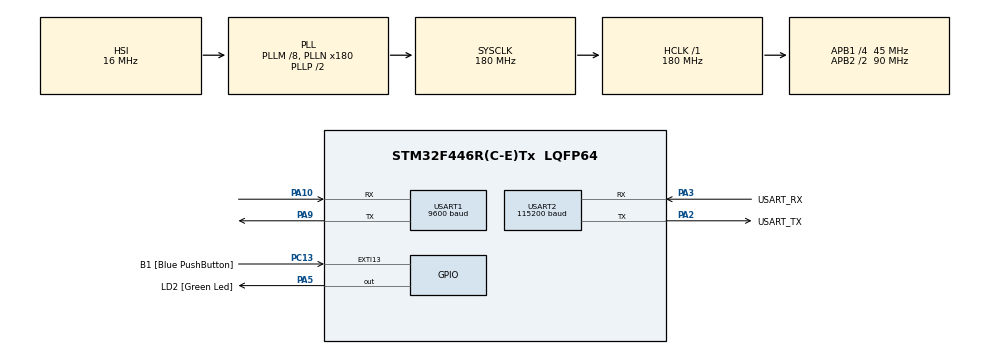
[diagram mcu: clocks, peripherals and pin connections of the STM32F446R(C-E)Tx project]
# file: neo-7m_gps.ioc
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Mcu.Family=STM32F4
Mcu.Name=STM32F446R(C-E)Tx
Mcu.Package=LQFP64
NVIC.PriorityGroup=NVIC_PRIORITYGROUP_0
PA10.Mode=Asynchronous
PA10.Signal=USART1_RX
PA13.GPIO_Label=TMS
PA13.Mode=Serial_Wire
PA13.Signal=SYS_JTMS-SWDIO
PA14.GPIO_Label=TCK
PA14.Mode=Serial_Wire
PA14.Signal=SYS_JTCK-SWCLK
PA2.GPIO_Label=USART_TX
PA2.Mode=Asynchronous
PA2.Signal=USART2_TX
PA3.GPIO_Label=USART_RX
PA3.Mode=Asynchronous
PA3.Signal=USART2_RX
PA5.GPIO_Label=LD2 [Green Led]
PA5.Signal=GPIO_Output
PA9.Mode=Asynchronous
PA9.Signal=USART1_TX
PB3.GPIO_Label=SWO
PB3.Signal=SYS_JTDO-SWO
PC13.GPIO_Label=B1 [Blue PushButton]
PC13.GPIO_ModeDefaultEXTI=GPIO_MODE_IT_FALLING
PC13.Signal=GPXTI13
PC14-OSC32_IN.Mode=LSE-External-Oscillator
PC14-OSC32_IN.Signal=RCC_OSC32_IN
PC15-OSC32_OUT.Mode=LSE-External-Oscillator
PC15-OSC32_OUT.Signal=RCC_OSC32_OUT
PH0-OSC_IN.Mode=HSE-External-Oscillator
PH0-OSC_IN.Signal=RCC_OSC_IN
PH1-OSC_OUT.Mode=HSE-External-Oscillator
PH1-OSC_OUT.Signal=RCC_OSC_OUT
ProjectManager.HeapSize=0x200
ProjectManager.StackSize=0x400
ProjectManager.TargetToolchain=STM32CubeIDE
RCC.48MHZClocksFreq_Value=84000000
RCC.AHBFreq_Value=180000000
RCC.APB1CLKDivider=RCC_HCLK_DIV4
RCC.APB1Freq_Value=45000000
RCC.APB1TimFreq_Value=90000000
RCC.APB2CLKDivider=RCC_HCLK_DIV2
RCC.APB2Freq_Value=90000000
RCC.APB2TimFreq_Value=180000000
RCC.CortexFreq_Value=180000000
RCC.FLatency-AdvancedSettings=FLASH_LATENCY_5
RCC.HCLKFreq_Value=180000000
RCC.HSE_VALUE=8000000
RCC.HSI_VALUE=16000000
RCC.PLLM=8
RCC.PLLN=180
RCC.SYSCLKFreq_VALUE=180000000
RCC.SYSCLKSource=RCC_SYSCLKSOURCE_PLLCLK
RCC.USBFreq_Value=180000000
RCC.VCOOutputFreq_Value=360000000
USART1.BaudRate=9600
USART1.VirtualMode=VM_ASYNC
USART2.BaudRate=115200
USART2.VirtualMode=VM_ASYNC
board=NUCLEO-F446RE

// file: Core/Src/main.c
/* USER CODE BEGIN Header */
/**
  ******************************************************************************
  * @file           : main.c
  * @brief          : Main program body
  ******************************************************************************
  * @attention
  *
  * Copyright (c) 2024 STMicroelectronics.
  * All rights reserved.
  *
  * This software is licensed under terms that can be found in the LICENSE file
  * in the root directory of this software component.
  * If no LICENSE file comes with this software, it is provided AS-IS.
  *
  ******************************************************************************
  */
/* USER CODE END Header */
#include "main.h"

/* USER CODE BEGIN Includes */
#include <stdio.h>
#include <string.h>
#include <stdlib.h>

#define gps_buffer 512

/* USER CODE END Includes */

UART_HandleTypeDef huart1;
UART_HandleTypeDef huart2;

/* USER CODE BEGIN PV */
/* GPS data buffer */
char gps_data[gps_buffer];

/* USER CODE END PV */

void SystemClock_Config(void);
static void MX_GPIO_Init(void);
static void MX_USART2_UART_Init(void);
static void MX_USART1_UART_Init(void);

int main(void)
{

  /* MCU Configuration--------------------------------------------------------*/

  /* Reset of all peripherals, Initializes the Flash interface and the Systick. */
  HAL_Init();

  /* Configure the system clock */
  SystemClock_Config();

  /* Initialize all configured peripherals */
  MX_GPIO_Init();
  MX_USART2_UART_Init();
  MX_USART1_UART_Init();
  /* USER CODE BEGIN 2 */
  void ProcessGPSData(char* data)
  {
      // 수신된 GPS 데이터를 처리하는 로직을 여기에 작성합니다.
      // 예: UART를 통해 수신된 데이터를 파싱하고 원하는 정보를 추출합니다.
      printf("GPS data\r\n");
      printf(data);
      printf("\r\n");
  }

  // Function to parse GPRMC data for latitude, longitude, and time
  void parseGPRMC(char* nmeaSentence, char* latitude, char* longitude, char* time) {
      char* token = strtok(nmeaSentence, ",");
      int fieldCount = 0;
      while (token != NULL) {
          if (fieldCount == 1) {
              strcpy(time, token); // Time field
          } else if (fieldCount == 3) {
              strcpy(latitude, token);
          } else if (fieldCount == 5) {
              strcpy(longitude, token);
          }
          token = strtok(NULL, ",");
          fieldCount++;
      }
  }

  // Function to parse GPGGA data for number of satellites
  int parseGPGGA(char* nmeaSentence) {
      char* token = strtok(nmeaSentence, ",");
      int fieldCount = 0;
      int satellites = 0;
      while (token != NULL) {
          if (fieldCount == 7) {
              satellites = atoi(token);
          }
          token = strtok(NULL, ",");
          fieldCount++;
      }
      return satellites;
  }

  // Function to format time from hhmmss.ss to hh:mm:ss
  void formatTime(char* rawTime, char* formattedTime) {
      if (strlen(rawTime) >= 6) {
          snprintf(formattedTime, 9, "%c%c:%c%c:%c%c", rawTime[0], rawTime[1], rawTime[2], rawTime[3], rawTime[4], rawTime[5]);
      } else {
          strcpy(formattedTime, "00:00:00");
      }
  }
  /* USER CODE END 2 */

  /* Infinite loop */
  /* USER CODE BEGIN WHILE */
  while (1)
  {
      // GPS ?��?��?�� ?��?��
      if (HAL_UART_Receive(&huart1, (uint8_t*)gps_data, sizeof(gps_data), HAL_MAX_DELAY) == HAL_OK)
      {
    	  // GPS 데이터 처리
          ProcessGPSData(gps_data);

      }

      char latitude[20] = {0};
      char longitude[20] = {0};
      char rawTime[20] = {0};
      char formattedTime[10] = {0};
      int satellites = 0;

      // Process each line of the GPS data
      char* line = strtok(gps_data, "\n");
      while (line != NULL) {
          if (strncmp(line, "$GPRMC", 6) == 0) {
              parseGPRMC(line, latitude, longitude, rawTime);
          } else if (strncmp(line, "$GPGGA", 6) == 0) {
              satellites = parseGPGGA(line);
          }
          line = strtok(NULL, "\n");
      }

      // Format and print the time
      formatTime(rawTime, formattedTime);

      // Output parsed data
      printf("Time (UTC): %s\r\n", formattedTime);
      printf("Latitude: %s\r\n", latitude);
      printf("Longitude: %s\r\n", longitude);
      printf("Satellites: %d\r\n", satellites);
      HAL_Delay(1000);

      /*
      char msg[] = "Hello, STM32!\r\n";
      HAL_UART_Transmit(&huart2, (uint8_t*)msg, sizeof(msg)-1, HAL_MAX_DELAY);
      HAL_Delay(1000);
      */

    /* USER CODE END WHILE */

  }
}

void SystemClock_Config(void)
{
  RCC_OscInitTypeDef RCC_OscInitStruct = {0};
  RCC_ClkInitTypeDef RCC_ClkInitStruct = {0};

  /** Configure the main internal regulator output voltage
  */
  __HAL_RCC_PWR_CLK_ENABLE();
  __HAL_PWR_VOLTAGESCALING_CONFIG(PWR_REGULATOR_VOLTAGE_SCALE1);

  /** Initializes the RCC Oscillators according to the specified parameters
  * in the RCC_OscInitTypeDef structure.
  */
  RCC_OscInitStruct.OscillatorType = RCC_OSCILLATORTYPE_HSI;
  RCC_OscInitStruct.HSIState = RCC_HSI_ON;
  RCC_OscInitStruct.HSICalibrationValue = RCC_HSICALIBRATION_DEFAULT;
  RCC_OscInitStruct.PLL.PLLState = RCC_PLL_ON;
  RCC_OscInitStruct.PLL.PLLSource = RCC_PLLSOURCE_HSI;
  RCC_OscInitStruct.PLL.PLLM = 8;
  RCC_OscInitStruct.PLL.PLLN = 180;
  RCC_OscInitStruct.PLL.PLLP = RCC_PLLP_DIV2;
  RCC_OscInitStruct.PLL.PLLQ = 2;
  RCC_OscInitStruct.PLL.PLLR = 2;
  if (HAL_RCC_OscConfig(&RCC_OscInitStruct) != HAL_OK)
  {
    Error_Handler();
  }

  /** Activate the Over-Drive mode
  */
  if (HAL_PWREx_EnableOverDrive() != HAL_OK)
  {
    Error_Handler();
  }

  /** Initializes the CPU, AHB and APB buses clocks
  */
  RCC_ClkInitStruct.ClockType = RCC_CLOCKTYPE_HCLK|RCC_CLOCKTYPE_SYSCLK
                              |RCC_CLOCKTYPE_PCLK1|RCC_CLOCKTYPE_PCLK2;
  RCC_ClkInitStruct.SYSCLKSource = RCC_SYSCLKSOURCE_PLLCLK;
  RCC_ClkInitStruct.AHBCLKDivider = RCC_SYSCLK_DIV1;
  RCC_ClkInitStruct.APB1CLKDivider = RCC_HCLK_DIV4;
  RCC_ClkInitStruct.APB2CLKDivider = RCC_HCLK_DIV2;

  if (HAL_RCC_ClockConfig(&RCC_ClkInitStruct, FLASH_LATENCY_5) != HAL_OK)
  {
    Error_Handler();
  }
}

static void MX_USART1_UART_Init(void)
{

  huart1.Instance = USART1;
  huart1.Init.BaudRate = 9600;
  huart1.Init.WordLength = UART_WORDLENGTH_8B;
  huart1.Init.StopBits = UART_STOPBITS_1;
  huart1.Init.Parity = UART_PARITY_NONE;
  huart1.Init.Mode = UART_MODE_TX_RX;
  huart1.Init.HwFlowCtl = UART_HWCONTROL_NONE;
  huart1.Init.OverSampling = UART_OVERSAMPLING_16;
  if (HAL_UART_Init(&huart1) != HAL_OK)
  {
    Error_Handler();
  }

}

static void MX_USART2_UART_Init(void)
{

  huart2.Instance = USART2;
  huart2.Init.BaudRate = 115200;
  huart2.Init.WordLength = UART_WORDLENGTH_8B;
  huart2.Init.StopBits = UART_STOPBITS_1;
  huart2.Init.Parity = UART_PARITY_NONE;
  huart2.Init.Mode = UART_MODE_TX_RX;
  huart2.Init.HwFlowCtl = UART_HWCONTROL_NONE;
  huart2.Init.OverSampling = UART_OVERSAMPLING_16;
  if (HAL_UART_Init(&huart2) != HAL_OK)
  {
    Error_Handler();
  }

}

static void MX_GPIO_Init(void)
{
  GPIO_InitTypeDef GPIO_InitStruct = {0};

  /* GPIO Ports Clock Enable */
  __HAL_RCC_GPIOC_CLK_ENABLE();
  __HAL_RCC_GPIOH_CLK_ENABLE();
  __HAL_RCC_GPIOA_CLK_ENABLE();
  __HAL_RCC_GPIOB_CLK_ENABLE();

  /*Configure GPIO pin Output Level */
  HAL_GPIO_WritePin(LD2_GPIO_Port, LD2_Pin, GPIO_PIN_RESET);

  /*Configure GPIO pin : B1_Pin */
  GPIO_InitStruct.Pin = B1_Pin;
  GPIO_InitStruct.Mode = GPIO_MODE_IT_FALLING;
  GPIO_InitStruct.Pull = GPIO_NOPULL;
  HAL_GPIO_Init(B1_GPIO_Port, &GPIO_InitStruct);

  /*Configure GPIO pin : LD2_Pin */
  GPIO_InitStruct.Pin = LD2_Pin;
  GPIO_InitStruct.Mode = GPIO_MODE_OUTPUT_PP;
  GPIO_InitStruct.Pull = GPIO_NOPULL;
  GPIO_InitStruct.Speed = GPIO_SPEED_FREQ_LOW;
  HAL_GPIO_Init(LD2_GPIO_Port, &GPIO_InitStruct);

}

/* USER CODE BEGIN 4 */
int _write(int file, char *ptr, int len)
{
    HAL_UART_Transmit(&huart2, (uint8_t*)ptr, len, HAL_MAX_DELAY);
    return len;
}
/* USER CODE END 4 */

void Error_Handler(void)
{
  __disable_irq();
  while (1)
  {
  }
}
